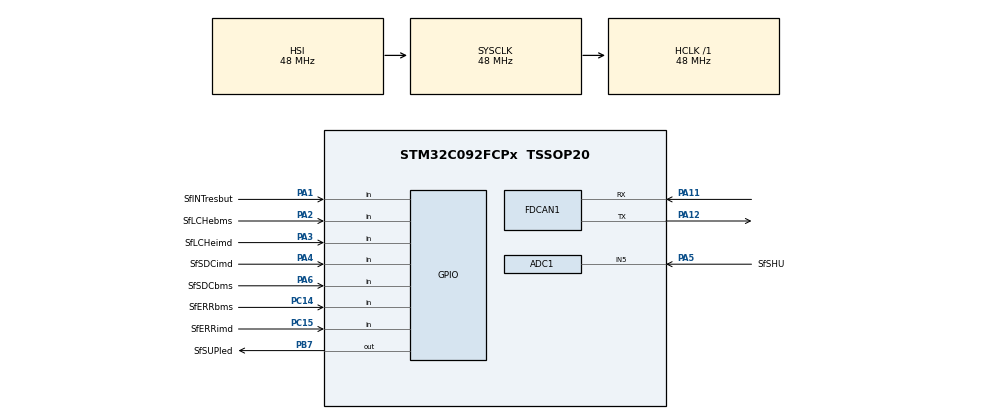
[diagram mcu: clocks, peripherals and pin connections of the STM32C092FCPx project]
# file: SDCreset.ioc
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ADC1.ContinuousConvMode=DISABLE
ADC1.DMAContinuousRequests=ENABLE
ADC1.NbrOfConversionFlag=0
ADC1.SamplingTimeCommon1=ADC_SAMPLETIME_160CYCLES_5
ADC1.SelectedChannel=ADC_CHANNEL_5
ADC1.TriggerFrequencyMode=ADC_TRIGGER_FREQ_LOW
ADC1.master=1
Dma.ADC1.0.Direction=DMA_PERIPH_TO_MEMORY
Dma.ADC1.0.EventEnable=DISABLE
Dma.ADC1.0.Instance=DMA1_Channel5
Dma.ADC1.0.MemDataAlignment=DMA_MDATAALIGN_HALFWORD
Dma.ADC1.0.MemInc=DMA_MINC_ENABLE
Dma.ADC1.0.Mode=DMA_CIRCULAR
Dma.ADC1.0.PeriphDataAlignment=DMA_PDATAALIGN_HALFWORD
Dma.ADC1.0.PeriphInc=DMA_PINC_DISABLE
Dma.ADC1.0.Polarity=HAL_DMAMUX_REQ_GEN_RISING
Dma.ADC1.0.Priority=DMA_PRIORITY_LOW
Dma.ADC1.0.RequestNumber=1
Dma.ADC1.0.SignalID=NONE
Dma.ADC1.0.SyncEnable=DISABLE
Dma.ADC1.0.SyncPolarity=HAL_DMAMUX_SYNC_NO_EVENT
Dma.ADC1.0.SyncRequestNumber=1
Dma.ADC1.0.SyncSignalID=NONE
Dma.Request0=ADC1
FDCAN1.AutoRetransmission=ENABLE
FDCAN1.CalculateBaudRateNominal=250000
FDCAN1.CalculateTimeBitNominal=4000
FDCAN1.CalculateTimeQuantumNominal=250.0
FDCAN1.NominalPrescaler=12
FDCAN1.NominalTimeSeg1=13
FDCAN1.NominalTimeSeg2=2
Mcu.Family=STM32C0
Mcu.Name=STM32C092FCPx
Mcu.Package=TSSOP20
PA1.GPIO_Label=SfINTresbut
PA1.Signal=GPIO_Input
PA11\ [PA9].Mode=FDCAN_Activate
PA11\ [PA9].Signal=FDCAN1_RX
PA12\ [PA10].Mode=FDCAN_Activate
PA12\ [PA10].Signal=FDCAN1_TX
PA13.Mode=Serial_Wire
PA13.Signal=DEBUG_SWDIO
PA14-BOOT0.Mode=Serial_Wire
PA14-BOOT0.Signal=DEBUG_SWCLK
PA14-BOOT0__PA15.StandardMode=true
PA2.GPIO_Label=SfLCHebms
PA2.Signal=GPIO_Input
PA3.GPIO_Label=SfLCHeimd
PA3.Signal=GPIO_Input
PA4.GPIO_Label=SfSDCimd
PA4.GPIO_PuPd=GPIO_PULLUP
PA4.Signal=GPIO_Input
PA5.GPIO_Label=SfSHU
PA5.Mode=IN5
PA5.Signal=ADC1_IN5
PA6.GPIO_Label=SfSDCbms
PA6.GPIO_PuPd=GPIO_PULLUP
PA6.Signal=GPIO_Input
PB0__PB1__PB2__PA8.StandardMode=true
PB3__PB4__PB5__PB6.StandardMode=true
PB7.GPIO_Label=SfSUPled
PB7.Signal=GPIO_Output
PB7__PB8.StandardMode=true
PC14-OSCX_IN(PC14).GPIO_Label=SfERRbms
PC14-OSCX_IN(PC14).Signal=GPIO_Input
PC15-OSCX_OUT(PC15).GPIO_Label=SfERRimd
PC15-OSCX_OUT(PC15).Signal=GPIO_Input
ProjectManager.HeapSize=0x200
ProjectManager.StackSize=0x400
ProjectManager.TargetToolchain=STM32CubeIDE
RCC.ADCCLockSelection=RCC_ADCCLKSOURCE_HSIKER
RCC.ADCFreq_Value=6000000
RCC.AHBFreq_Value=48000000
RCC.CortexFreq_Value=48000000
RCC.EXTERNAL_CLOCK_VALUE=12288000
RCC.HCLKFreq_Value=48000000
RCC.HSE_VALUE=8000000
RCC.HSIKERCLKDivider=RCC_HSIKER_DIV8
RCC.HSISYSCLKDivider=RCC_HSI_DIV1
RCC.HSI_VALUE=48000000
RCC.LSE_VALUE=32768
RCC.SYSCLKFreq_VALUE=48000000
board=custom

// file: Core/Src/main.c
/* USER CODE BEGIN Header */
/**
  ******************************************************************************
  * @file           : main.c
  * @brief          : Main program body
  ******************************************************************************
  * @attention
  *
  * Copyright (c) 2026 STMicroelectronics.
  * All rights reserved.
  *
  * This software is licensed under terms that can be found in the LICENSE file
  * in the root directory of this software component.
  * If no LICENSE file comes with this software, it is provided AS-IS.
  *
  ******************************************************************************
  */
/* USER CODE END Header */
#include "main.h"

/* USER CODE BEGIN Includes */
#include "can.h"
#include "f2p.h"
/* USER CODE END Includes */

ADC_HandleTypeDef hadc1;
DMA_HandleTypeDef hdma_adc1;

FDCAN_HandleTypeDef hfdcan1;

/* USER CODE BEGIN PV */
#define DMA_CH1 1
uint32_t DICCDMA[DMA_CH1];
uint32_t LastCANSendTime = 0;
uint16_t numberOfCANMessagesSent = 0;

DICCF_t DICCF = {0};
DICCP_t DICCP = {0};
/* USER CODE END PV */

void SystemClock_Config(void);
void PeriphCommonClock_Config(void);
static void MX_GPIO_Init(void);
static void MX_DMA_Init(void);
static void MX_FDCAN1_Init(void);
static void MX_ADC1_Init(void);

int main(void)
{

  /* USER CODE BEGIN 1 */
	//uint32_t adc1_buff[1] = {0};
  /* USER CODE END 1 */

  /* MCU Configuration--------------------------------------------------------*/

  /* Reset of all peripherals, Initializes the Flash interface and the Systick. */
  HAL_Init();

  /* Configure the system clock */
  SystemClock_Config();

  /* Configure the peripherals common clocks */
  PeriphCommonClock_Config();

  /* Initialize all configured peripherals */
  MX_GPIO_Init();
  MX_DMA_Init();
  MX_FDCAN1_Init();
  MX_ADC1_Init();
  /* USER CODE BEGIN 2 */
  CAN_Init_Custom(&hfdcan1);
  HAL_ADCEx_Calibration_Start(&hadc1);
  /* USER CODE END 2 */

  /* Infinite loop */
  while (1)
  {

    /* USER CODE BEGIN 3 */
	  HAL_ADC_Start_DMA(&hadc1, (uint32_t*)DICCDMA, DMA_CH1);

	  uint8_t Msg[3] = {0};

	  DIG2DICCF(&DICCF);

	  DMA2DICCF(&DICCF, DICCDMA);

	  DICCF2DICCP(&DICCF, &DICCP);

	  CAN_Msg_Maker(&DICCP, Msg);

	  if ((HAL_GetTick() - LastCANSendTime) >= 10)
	  {
		  CAN_Send(&hfdcan1, 0x600, Msg, 3);

		  LastCANSendTime = HAL_GetTick();

		  numberOfCANMessagesSent++;

		  if(numberOfCANMessagesSent > 2000)
		  {
			  HAL_GPIO_TogglePin(GPIOB, SfSUPled_Pin);
			  numberOfCANMessagesSent = 0;
		  }
	  }
  }
  /* USER CODE END 3 */
}

void SystemClock_Config(void)
{
  RCC_OscInitTypeDef RCC_OscInitStruct = {0};
  RCC_ClkInitTypeDef RCC_ClkInitStruct = {0};

  __HAL_FLASH_SET_LATENCY(FLASH_LATENCY_1);

  /** Initializes the RCC Oscillators according to the specified parameters
  * in the RCC_OscInitTypeDef structure.
  */
  RCC_OscInitStruct.OscillatorType = RCC_OSCILLATORTYPE_HSI;
  RCC_OscInitStruct.HSIState = RCC_HSI_ON;
  RCC_OscInitStruct.HSIDiv = RCC_HSI_DIV1;
  RCC_OscInitStruct.HSICalibrationValue = RCC_HSICALIBRATION_DEFAULT;
  if (HAL_RCC_OscConfig(&RCC_OscInitStruct) != HAL_OK)
  {
    Error_Handler();
  }

  /** Initializes the CPU, AHB and APB buses clocks
  */
  RCC_ClkInitStruct.ClockType = RCC_CLOCKTYPE_HCLK|RCC_CLOCKTYPE_SYSCLK
                              |RCC_CLOCKTYPE_PCLK1;
  RCC_ClkInitStruct.SYSCLKSource = RCC_SYSCLKSOURCE_HSI;
  RCC_ClkInitStruct.SYSCLKDivider = RCC_SYSCLK_DIV1;
  RCC_ClkInitStruct.AHBCLKDivider = RCC_HCLK_DIV1;
  RCC_ClkInitStruct.APB1CLKDivider = RCC_APB1_DIV1;

  if (HAL_RCC_ClockConfig(&RCC_ClkInitStruct, FLASH_LATENCY_1) != HAL_OK)
  {
    Error_Handler();
  }
}

void PeriphCommonClock_Config(void)
{
  RCC_PeriphCLKInitTypeDef PeriphClkInit = {0};

  /** Initializes the common peripherals clocks
  */
  PeriphClkInit.PeriphClockSelection = RCC_PERIPHCLK_HSIKER;
  PeriphClkInit.HSIKerClockDivider = RCC_HSIKER_DIV8;

  if (HAL_RCCEx_PeriphCLKConfig(&PeriphClkInit) != HAL_OK)
  {
    Error_Handler();
  }
}

static void MX_ADC1_Init(void)
{

  ADC_ChannelConfTypeDef sConfig = {0};

  /** Configure the global features of the ADC (Clock, Resolution, Data Alignment and number of conversion)
  */
  hadc1.Instance = ADC1;
  hadc1.Init.ClockPrescaler = ADC_CLOCK_SYNC_PCLK_DIV2;
  hadc1.Init.Resolution = ADC_RESOLUTION_12B;
  hadc1.Init.DataAlign = ADC_DATAALIGN_RIGHT;
  hadc1.Init.ScanConvMode = ADC_SCAN_SEQ_FIXED;
  hadc1.Init.EOCSelection = ADC_EOC_SINGLE_CONV;
  hadc1.Init.LowPowerAutoWait = DISABLE;
  hadc1.Init.LowPowerAutoPowerOff = DISABLE;
  hadc1.Init.ContinuousConvMode = DISABLE;
  hadc1.Init.NbrOfConversion = 1;
  hadc1.Init.DiscontinuousConvMode = DISABLE;
  hadc1.Init.ExternalTrigConv = ADC_SOFTWARE_START;
  hadc1.Init.ExternalTrigConvEdge = ADC_EXTERNALTRIGCONVEDGE_NONE;
  hadc1.Init.DMAContinuousRequests = ENABLE;
  hadc1.Init.Overrun = ADC_OVR_DATA_PRESERVED;
  hadc1.Init.SamplingTimeCommon1 = ADC_SAMPLETIME_160CYCLES_5;
  hadc1.Init.OversamplingMode = DISABLE;
  hadc1.Init.TriggerFrequencyMode = ADC_TRIGGER_FREQ_LOW;
  if (HAL_ADC_Init(&hadc1) != HAL_OK)
  {
    Error_Handler();
  }

  /** Configure Regular Channel
  */
  sConfig.Channel = ADC_CHANNEL_5;
  sConfig.Rank = ADC_RANK_CHANNEL_NUMBER;
  if (HAL_ADC_ConfigChannel(&hadc1, &sConfig) != HAL_OK)
  {
    Error_Handler();
  }

}

static void MX_FDCAN1_Init(void)
{

  hfdcan1.Instance = FDCAN1;
  hfdcan1.Init.ClockDivider = FDCAN_CLOCK_DIV1;
  hfdcan1.Init.FrameFormat = FDCAN_FRAME_CLASSIC;
  hfdcan1.Init.Mode = FDCAN_MODE_NORMAL;
  hfdcan1.Init.AutoRetransmission = ENABLE;
  hfdcan1.Init.TransmitPause = DISABLE;
  hfdcan1.Init.ProtocolException = DISABLE;
  hfdcan1.Init.NominalPrescaler = 12;
  hfdcan1.Init.NominalSyncJumpWidth = 1;
  hfdcan1.Init.NominalTimeSeg1 = 13;
  hfdcan1.Init.NominalTimeSeg2 = 2;
  hfdcan1.Init.DataPrescaler = 1;
  hfdcan1.Init.DataSyncJumpWidth = 1;
  hfdcan1.Init.DataTimeSeg1 = 1;
  hfdcan1.Init.DataTimeSeg2 = 1;
  hfdcan1.Init.StdFiltersNbr = 0;
  hfdcan1.Init.ExtFiltersNbr = 0;
  hfdcan1.Init.TxFifoQueueMode = FDCAN_TX_FIFO_OPERATION;
  if (HAL_FDCAN_Init(&hfdcan1) != HAL_OK)
  {
    Error_Handler();
  }

}

static void MX_DMA_Init(void)
{

  /* DMA controller clock enable */
  __HAL_RCC_DMA1_CLK_ENABLE();

}

static void MX_GPIO_Init(void)
{
  GPIO_InitTypeDef GPIO_InitStruct = {0};

  /* GPIO Ports Clock Enable */
  __HAL_RCC_GPIOB_CLK_ENABLE();
  __HAL_RCC_GPIOC_CLK_ENABLE();
  __HAL_RCC_GPIOA_CLK_ENABLE();

  /*Configure GPIO pin Output Level */
  HAL_GPIO_WritePin(SfSUPled_GPIO_Port, SfSUPled_Pin, GPIO_PIN_RESET);

  /*Configure GPIO pin : SfSUPled_Pin */
  GPIO_InitStruct.Pin = SfSUPled_Pin;
  GPIO_InitStruct.Mode = GPIO_MODE_OUTPUT_PP;
  GPIO_InitStruct.Pull = GPIO_NOPULL;
  GPIO_InitStruct.Speed = GPIO_SPEED_FREQ_LOW;
  HAL_GPIO_Init(SfSUPled_GPIO_Port, &GPIO_InitStruct);

  /*Configure GPIO pins : SfERRbms_Pin SfERRimd_Pin */
  GPIO_InitStruct.Pin = SfERRbms_Pin|SfERRimd_Pin;
  GPIO_InitStruct.Mode = GPIO_MODE_INPUT;
  GPIO_InitStruct.Pull = GPIO_NOPULL;
  HAL_GPIO_Init(GPIOC, &GPIO_InitStruct);

  /*Configure GPIO pins : SfINTresbut_Pin SfLCHebms_Pin SfLCHeimd_Pin */
  GPIO_InitStruct.Pin = SfINTresbut_Pin|SfLCHebms_Pin|SfLCHeimd_Pin;
  GPIO_InitStruct.Mode = GPIO_MODE_INPUT;
  GPIO_InitStruct.Pull = GPIO_NOPULL;
  HAL_GPIO_Init(GPIOA, &GPIO_InitStruct);

  /*Configure GPIO pins : SfSDCimd_Pin SfSDCbms_Pin */
  GPIO_InitStruct.Pin = SfSDCimd_Pin|SfSDCbms_Pin;
  GPIO_InitStruct.Mode = GPIO_MODE_INPUT;
  GPIO_InitStruct.Pull = GPIO_PULLUP;
  HAL_GPIO_Init(GPIOA, &GPIO_InitStruct);

}

void Error_Handler(void)
{
  /* USER CODE BEGIN Error_Handler_Debug */
  /* User can add his own implementation to report the HAL error return state */
  __disable_irq();
  while (1)
  {
	  HAL_GPIO_WritePin(GPIOB, SfSUPled_Pin, GPIO_PIN_RESET);
  }
  /* USER CODE END Error_Handler_Debug */
}
